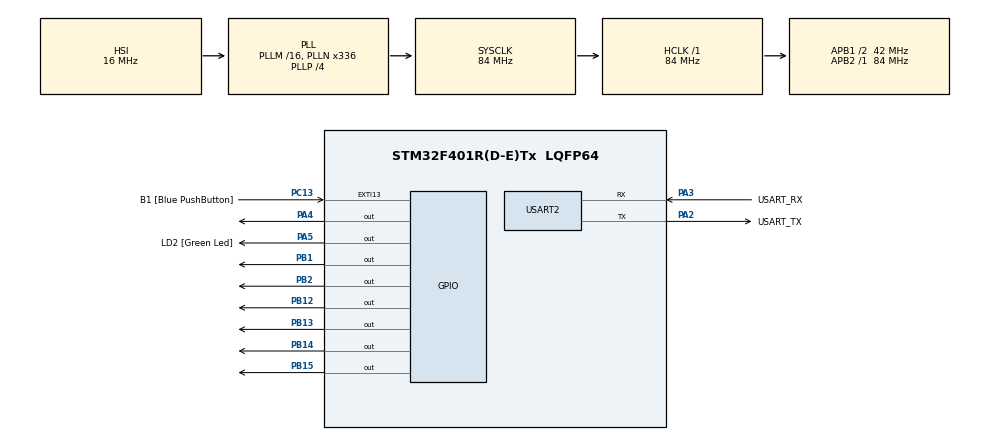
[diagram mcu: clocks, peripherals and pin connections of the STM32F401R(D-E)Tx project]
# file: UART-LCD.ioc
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Mcu.Family=STM32F4
Mcu.Name=STM32F401R(D-E)Tx
Mcu.Package=LQFP64
NVIC.PriorityGroup=NVIC_PRIORITYGROUP_0
NVIC.TIM2_IRQn=true\:0\:0\:false\:false\:true\:true\:true\:true
PA13.GPIO_Label=TMS
PA13.Mode=Serial_Wire
PA13.Signal=SYS_JTMS-SWDIO
PA14.GPIO_Label=TCK
PA14.Mode=Serial_Wire
PA14.Signal=SYS_JTCK-SWCLK
PA2.GPIO_Label=USART_TX
PA2.GPIO_Mode=GPIO_MODE_AF_PP
PA2.GPIO_PuPd=GPIO_NOPULL
PA2.GPIO_Speed=GPIO_SPEED_FREQ_LOW
PA2.Mode=Asynchronous
PA2.Signal=USART2_TX
PA3.GPIO_Label=USART_RX
PA3.GPIO_Mode=GPIO_MODE_AF_PP
PA3.GPIO_PuPd=GPIO_NOPULL
PA3.GPIO_Speed=GPIO_SPEED_FREQ_LOW
PA3.Mode=Asynchronous
PA3.Signal=USART2_RX
PA4.Signal=GPIO_Output
PA5.GPIO_Label=LD2 [Green Led]
PA5.GPIO_Mode=GPIO_MODE_OUTPUT_PP
PA5.GPIO_PuPd=GPIO_NOPULL
PA5.GPIO_Speed=GPIO_SPEED_FREQ_LOW
PA5.Signal=GPIO_Output
PB1.Signal=GPIO_Output
PB12.Signal=GPIO_Output
PB13.Signal=GPIO_Output
PB14.Signal=GPIO_Output
PB15.Signal=GPIO_Output
PB2.Signal=GPIO_Output
PB3.GPIO_Label=SWO
PB3.Signal=SYS_JTDO-SWO
PC13-ANTI_TAMP.GPIO_Label=B1 [Blue PushButton]
PC13-ANTI_TAMP.GPIO_ModeDefaultEXTI=GPIO_MODE_IT_FALLING
PC13-ANTI_TAMP.GPIO_PuPd=GPIO_NOPULL
PC13-ANTI_TAMP.Signal=GPXTI13
PC14-OSC32_IN.Mode=LSE-External-Oscillator
PC14-OSC32_IN.Signal=RCC_OSC32_IN
PC15-OSC32_OUT.Mode=LSE-External-Oscillator
PC15-OSC32_OUT.Signal=RCC_OSC32_OUT
PH0\ -\ OSC_IN.Mode=HSE-External-Clock-Source
PH0\ -\ OSC_IN.Signal=RCC_OSC_IN
PH1\ -\ OSC_OUT.Mode=HSE-External-Clock-Source
PH1\ -\ OSC_OUT.Signal=RCC_OSC_OUT
ProjectManager.HeapSize=0x200
ProjectManager.StackSize=0x400
ProjectManager.TargetToolchain=STM32CubeIDE
RCC.48MHZClocksFreq_Value=48000000
RCC.AHBFreq_Value=84000000
RCC.APB1CLKDivider=RCC_HCLK_DIV2
RCC.APB1Freq_Value=42000000
RCC.APB1TimFreq_Value=84000000
RCC.APB2Freq_Value=84000000
RCC.APB2TimFreq_Value=84000000
RCC.CortexFreq_Value=84000000
RCC.HCLKFreq_Value=84000000
RCC.HSE_VALUE=8000000
RCC.HSI_VALUE=16000000
RCC.PLLN=336
RCC.PLLP=RCC_PLLP_DIV4
RCC.PLLQ=7
RCC.SYSCLKFreq_VALUE=84000000
RCC.SYSCLKSource=RCC_SYSCLKSOURCE_PLLCLK
RCC.VCOOutputFreq_Value=336000000
TIM2.Period=9999
TIM2.Prescaler=8399
USART2.VirtualMode=VM_ASYNC
VP_TIM2_VS_ClockSourceINT.Mode=Internal
board=NUCLEO-F401RE

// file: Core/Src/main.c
/* USER CODE BEGIN Header */
/**
  ******************************************************************************
  * @file           : main.c
  * @brief          : Main program body
  ******************************************************************************
  * @attention
  *
  * Copyright (c) 2024 STMicroelectronics.
  * All rights reserved.
  *
  * This software is licensed under terms that can be found in the LICENSE file
  * in the root directory of this software component.
  * If no LICENSE file comes with this software, it is provided AS-IS.
  *
  ******************************************************************************
  */
/* USER CODE END Header */
#include "main.h"

/* USER CODE BEGIN Includes */
#include "PMDB16_LCD.h"
#include <string.h>
/* USER CODE END Includes */

TIM_HandleTypeDef htim2;

UART_HandleTypeDef huart2;

void SystemClock_Config(void);
static void MX_GPIO_Init(void);
static void MX_USART2_UART_Init(void);
static void MX_TIM2_Init(void);

/* USER CODE BEGIN 0 */

 char *members[] = {"Riccardo","Alessio", "Sofia", "Anna", "Emma"};

 int length = sizeof(members)/sizeof(char*);

 void insertion_sort(char* arr[], int n)
 {
     for (int i = 1; i < n; ++i) {
         char* key = arr[i];
         int j = i - 1;

         /* Move elements of arr[0..i-1], that are
            greater than key, to one position ahead
            of their current position */
         while (j >= 0 && strcmp(arr[j], key)>0) {
             arr[j + 1] = arr[j];
             j = j - 1;
         }
         arr[j + 1] = key;
     }
 }
 int counter = 1;

 void HAL_TIM_PeriodElapsedCallback(TIM_HandleTypeDef *htim)
 {
 	if (htim == &htim2) {
 		lcd_clear();
 		lcd_println(members[(counter + 1) % length], 1);
 		lcd_println(members[counter % length], 0);
 		counter = (counter + 1) % length;
 		HAL_Delay(1000);
 	}
 }

/* USER CODE END 0 */

int main(void)
{

  /* USER CODE BEGIN 1 */
	insertion_sort(members, length);
  /* USER CODE END 1 */

  /* MCU Configuration--------------------------------------------------------*/

  /* Reset of all peripherals, Initializes the Flash interface and the Systick. */
  HAL_Init();

  /* Configure the system clock */
  SystemClock_Config();

  /* Initialize all configured peripherals */
  MX_GPIO_Init();
  MX_USART2_UART_Init();
  MX_TIM2_Init();
  /* USER CODE BEGIN 2 */

  lcd_initialize();
  lcd_backlight_ON();

  /* USER CODE END 2 */

  /* Infinite loop */
  /* USER CODE BEGIN WHILE */

  lcd_println(members[0], 1);
  while (1)
  {

    /* USER CODE END WHILE */

  }
}

void SystemClock_Config(void)
{
  RCC_OscInitTypeDef RCC_OscInitStruct = {0};
  RCC_ClkInitTypeDef RCC_ClkInitStruct = {0};

  /** Configure the main internal regulator output voltage
  */
  __HAL_RCC_PWR_CLK_ENABLE();
  __HAL_PWR_VOLTAGESCALING_CONFIG(PWR_REGULATOR_VOLTAGE_SCALE2);

  /** Initializes the RCC Oscillators according to the specified parameters
  * in the RCC_OscInitTypeDef structure.
  */
  RCC_OscInitStruct.OscillatorType = RCC_OSCILLATORTYPE_HSI;
  RCC_OscInitStruct.HSIState = RCC_HSI_ON;
  RCC_OscInitStruct.HSICalibrationValue = RCC_HSICALIBRATION_DEFAULT;
  RCC_OscInitStruct.PLL.PLLState = RCC_PLL_ON;
  RCC_OscInitStruct.PLL.PLLSource = RCC_PLLSOURCE_HSI;
  RCC_OscInitStruct.PLL.PLLM = 16;
  RCC_OscInitStruct.PLL.PLLN = 336;
  RCC_OscInitStruct.PLL.PLLP = RCC_PLLP_DIV4;
  RCC_OscInitStruct.PLL.PLLQ = 7;
  if (HAL_RCC_OscConfig(&RCC_OscInitStruct) != HAL_OK)
  {
    Error_Handler();
  }

  /** Initializes the CPU, AHB and APB buses clocks
  */
  RCC_ClkInitStruct.ClockType = RCC_CLOCKTYPE_HCLK|RCC_CLOCKTYPE_SYSCLK
                              |RCC_CLOCKTYPE_PCLK1|RCC_CLOCKTYPE_PCLK2;
  RCC_ClkInitStruct.SYSCLKSource = RCC_SYSCLKSOURCE_PLLCLK;
  RCC_ClkInitStruct.AHBCLKDivider = RCC_SYSCLK_DIV1;
  RCC_ClkInitStruct.APB1CLKDivider = RCC_HCLK_DIV2;
  RCC_ClkInitStruct.APB2CLKDivider = RCC_HCLK_DIV1;

  if (HAL_RCC_ClockConfig(&RCC_ClkInitStruct, FLASH_LATENCY_2) != HAL_OK)
  {
    Error_Handler();
  }
}

static void MX_TIM2_Init(void)
{

  TIM_ClockConfigTypeDef sClockSourceConfig = {0};
  TIM_MasterConfigTypeDef sMasterConfig = {0};

  htim2.Instance = TIM2;
  htim2.Init.Prescaler = 8399;
  htim2.Init.CounterMode = TIM_COUNTERMODE_UP;
  htim2.Init.Period = 9999;
  htim2.Init.ClockDivision = TIM_CLOCKDIVISION_DIV1;
  htim2.Init.AutoReloadPreload = TIM_AUTORELOAD_PRELOAD_DISABLE;
  if (HAL_TIM_Base_Init(&htim2) != HAL_OK)
  {
    Error_Handler();
  }
  sClockSourceConfig.ClockSource = TIM_CLOCKSOURCE_INTERNAL;
  if (HAL_TIM_ConfigClockSource(&htim2, &sClockSourceConfig) != HAL_OK)
  {
    Error_Handler();
  }
  sMasterConfig.MasterOutputTrigger = TIM_TRGO_RESET;
  sMasterConfig.MasterSlaveMode = TIM_MASTERSLAVEMODE_DISABLE;
  if (HAL_TIMEx_MasterConfigSynchronization(&htim2, &sMasterConfig) != HAL_OK)
  {
    Error_Handler();
  }

}

static void MX_USART2_UART_Init(void)
{

  huart2.Instance = USART2;
  huart2.Init.BaudRate = 115200;
  huart2.Init.WordLength = UART_WORDLENGTH_8B;
  huart2.Init.StopBits = UART_STOPBITS_1;
  huart2.Init.Parity = UART_PARITY_NONE;
  huart2.Init.Mode = UART_MODE_TX_RX;
  huart2.Init.HwFlowCtl = UART_HWCONTROL_NONE;
  huart2.Init.OverSampling = UART_OVERSAMPLING_16;
  if (HAL_UART_Init(&huart2) != HAL_OK)
  {
    Error_Handler();
  }

}

static void MX_GPIO_Init(void)
{
  GPIO_InitTypeDef GPIO_InitStruct = {0};

  /* GPIO Ports Clock Enable */
  __HAL_RCC_GPIOC_CLK_ENABLE();
  __HAL_RCC_GPIOH_CLK_ENABLE();
  __HAL_RCC_GPIOA_CLK_ENABLE();
  __HAL_RCC_GPIOB_CLK_ENABLE();

  /*Configure GPIO pin Output Level */
  HAL_GPIO_WritePin(GPIOA, GPIO_PIN_4|LD2_Pin, GPIO_PIN_RESET);

  /*Configure GPIO pin Output Level */
  HAL_GPIO_WritePin(GPIOB, GPIO_PIN_1|GPIO_PIN_2|GPIO_PIN_12|GPIO_PIN_13
                          |GPIO_PIN_14|GPIO_PIN_15, GPIO_PIN_RESET);

  /*Configure GPIO pin : B1_Pin */
  GPIO_InitStruct.Pin = B1_Pin;
  GPIO_InitStruct.Mode = GPIO_MODE_IT_FALLING;
  GPIO_InitStruct.Pull = GPIO_NOPULL;
  HAL_GPIO_Init(B1_GPIO_Port, &GPIO_InitStruct);

  /*Configure GPIO pins : PA4 LD2_Pin */
  GPIO_InitStruct.Pin = GPIO_PIN_4|LD2_Pin;
  GPIO_InitStruct.Mode = GPIO_MODE_OUTPUT_PP;
  GPIO_InitStruct.Pull = GPIO_NOPULL;
  GPIO_InitStruct.Speed = GPIO_SPEED_FREQ_LOW;
  HAL_GPIO_Init(GPIOA, &GPIO_InitStruct);

  /*Configure GPIO pins : PB1 PB2 PB12 PB13
                           PB14 PB15 */
  GPIO_InitStruct.Pin = GPIO_PIN_1|GPIO_PIN_2|GPIO_PIN_12|GPIO_PIN_13
                          |GPIO_PIN_14|GPIO_PIN_15;
  GPIO_InitStruct.Mode = GPIO_MODE_OUTPUT_PP;
  GPIO_InitStruct.Pull = GPIO_NOPULL;
  GPIO_InitStruct.Speed = GPIO_SPEED_FREQ_LOW;
  HAL_GPIO_Init(GPIOB, &GPIO_InitStruct);

}

void Error_Handler(void)
{
  __disable_irq();
  while (1)
  {
  }
}
